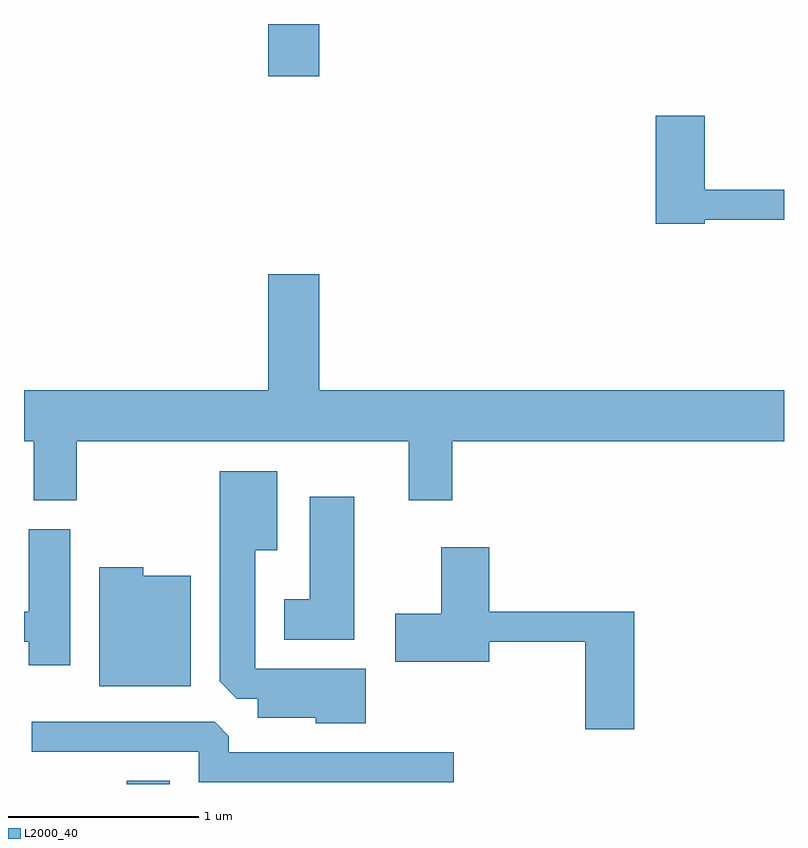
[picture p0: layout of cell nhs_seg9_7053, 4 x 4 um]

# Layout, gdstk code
import gdstk
lib = gdstk.Library(unit=1e-6, precision=1e-09)
def R(c, l, rs):  # rectangles x0, y0, x1, y1
    for r in rs: c.add(gdstk.rectangle(r[:2], r[2:], *l))
def P(c, l, *ps):  # polygons
    for p in ps: c.add(gdstk.Polygon(p, *l))
L2000_40 = (2000, 40)

nhs_seg9_7053 = lib.new_cell('nhs_seg9_7053')
R(nhs_seg9_7053, L2000_40, [(394.151,2014.432,394.379,2014.449), (394.896,2018.156,395.164,2018.432)])
P(nhs_seg9_7053, L2000_40, [(397.194,2017.401),(397.611,2017.401),(397.611,2017.559),(397.194,2017.559),(397.194,2017.949),(396.936,2017.949),(396.936,2017.381),(397.194,2017.381)],
  [(393.889,2016.236),(395.636,2016.236),(395.636,2015.926),(395.864,2015.926),(395.864,2016.236),(397.611,2016.236),(397.611,2016.504),(395.164,2016.504),(395.164,2017.114),(394.896,2017.114),(394.896,2016.504),(393.611,2016.504),(393.611,2016.236),(393.661,2016.236),(393.661,2015.926),(393.889,2015.926)],
  [(395.409,2015.039),(394.829,2015.039),(394.829,2015.661),(394.944,2015.661),(394.944,2016.079),(394.641,2016.079),(394.641,2014.972),(394.732,2014.881),(394.841,2014.881),(394.841,2014.781),(395.146,2014.781),(395.146,2014.751),(395.409,2014.751)],
  [(395.349,2015.944),(395.116,2015.944),(395.116,2015.404),(394.981,2015.404),(394.981,2015.191),(395.349,2015.191)],
  [(393.854,2015.774),(393.636,2015.774),(393.636,2015.339),(393.611,2015.339),(393.611,2015.181),(393.636,2015.181),(393.636,2015.056),(393.854,2015.056)],
  [(396.824,2015.339),(396.059,2015.339),(396.059,2015.679),(395.806,2015.679),(395.806,2015.329),(395.566,2015.329),(395.566,2015.076),(396.059,2015.076),(396.059,2015.181),(396.566,2015.181),(396.566,2014.721),(396.824,2014.721)],
  [(394.489,2015.529),(394.239,2015.529),(394.239,2015.574),(394.006,2015.574),(394.006,2014.946),(394.489,2014.946)],
  [(395.873,2014.599),(394.689,2014.599),(394.689,2014.684),(394.614,2014.759),(393.653,2014.759),(393.653,2014.601),(394.531,2014.601),(394.531,2014.441),(395.873,2014.441)])

lib.write_gds('nhs_seg9_7053.gds')
